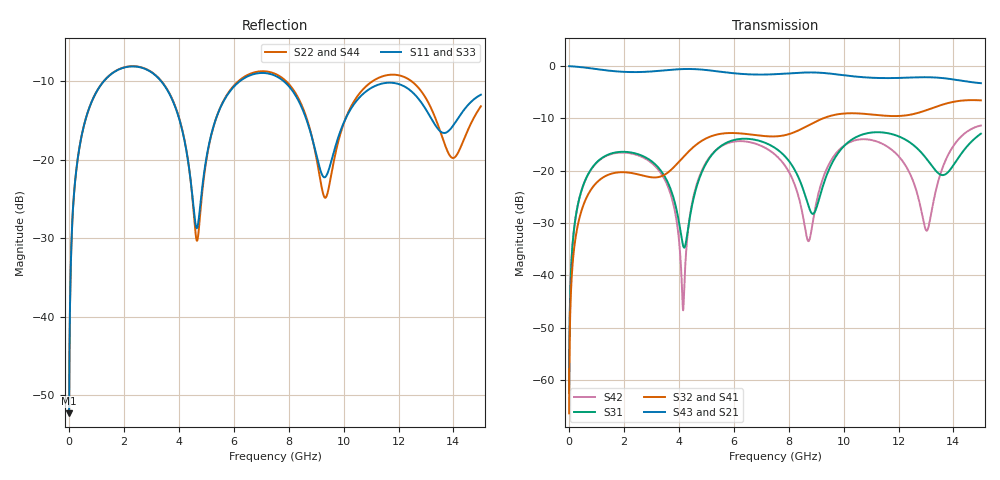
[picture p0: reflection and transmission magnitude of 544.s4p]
! Created with skrf 1.8.0 (http://scikit-rf.org).
# GHz S RI R 50.0
!freq ReS11 ImS11 ReS12 ImS12 ReS13 ImS13
! ReS14 ImS14
! ReS21 ImS21 ReS22 ImS22 ReS23 ImS23
! ReS24 ImS24
! ReS31 ImS31 ReS32 ImS32 ReS33 ImS33
! ReS34 ImS34
! ReS41 ImS41 ReS42 ImS42 ReS43 ImS43
! ReS44 ImS44
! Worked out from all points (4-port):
!   2499 points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, 5 MHz to 15 GHz, reference 50 ohm
!   strongest paths, dB at 5 MHz, 3.476 GHz, 7.19 GHz, 11.1 GHz, 15 GHz:
!     S43: 0.0, -0.8, -1.6, -2.2, -3.3
!     S21: 0.0, -0.8, -1.6, -2.2, -3.3
!     S32: -66.4, -20.8, -13.4, -9.3, -6.5
!     S41: -66.4, -20.8, -13.4, -9.3, -6.6
!     S31: -62.5, -21.0, -14.8, -12.7, -12.9
!     S42: -62.5, -21.6, -15.8, -14.2, -11.4
!   lowest |S11| = -52.3 dB at 5 MHz (marker M1), VSWR 1.00, Z = 50.2 + j0.147 ohm
!   |S11| at or under -10 dB: start of sweep to 1.261 GHz; 3.363 GHz to 6.211 GHz (2.848 GHz wide, 59.5 % of centre); 7.831 GHz to end of sweep
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0.005  0.00192 0.00146  0.998 -0.00374  9.71e-05 0.000747  -9.43e-05 -0.000472
       0.998 -0.00374  0.00192 0.00146  -9.43e-05 -0.000472  9.7e-05 0.000747
       9.71e-05 0.000747  -9.43e-05 -0.000472  0.00192 0.00146  0.998 -0.00374
       -9.43e-05 -0.000472  9.7e-05 0.000747  0.998 -0.00374  0.00192 0.00146
0.3126303  0.0315 0.0948  0.9568 -0.2313  0.0147 0.0434  -0.0121 -0.0268
           0.9568 -0.2313  0.0316 0.0948  -0.0121 -0.0268  0.0143 0.0435
           0.0147 0.0434  -0.0121 -0.0268  0.0315 0.0948  0.9568 -0.2313
           -0.0121 -0.0268  0.0143 0.0435  0.9568 -0.2313  0.0316 0.0948
1.3193  0.2706 0.1796  0.5492 -0.7292  0.1262 0.0566  -0.0884 -0.0065
        0.5492 -0.7292  0.2719 0.1787  -0.0885 -0.00648  0.1222 0.062
        0.1262 0.0566  -0.0885 -0.00648  0.2706 0.1796  0.5492 -0.7292
        -0.0884 -0.0065  0.1222 0.062  0.5492 -0.7292  0.272 0.1787
4.15173  0.0787 -0.1243  -0.8524 -0.3881  -0.0169 -0.00964  -0.0518 0.1239
         -0.8524 -0.3881  0.0734 -0.1291  -0.0514 0.124  -0.00426 -0.00194
         -0.0169 -0.00964  -0.0514 0.124  0.0791 -0.1254  -0.8522 -0.3882
         -0.0518 0.1239  -0.00426 -0.00194  -0.8522 -0.3882  0.0741 -0.1301
5.370988  0.1272 0.1367  -0.81 0.3751  0.1121 0.1123  0.1232 0.1836
          -0.81 0.3751  0.1242 0.1395  0.1238 0.1834  0.1068 0.1176
          0.1121 0.1123  0.1238 0.1834  0.1264 0.1355  -0.8102 0.3752
          0.1232 0.1836  0.1068 0.1176  -0.8102 0.3752  0.124 0.1382
9.38516  0.0792 0.0111  0.8486 0.0985  0.00617 0.0906  0.0273 -0.3246
         0.8486 0.0985  0.0585 0.00742  0.0257 -0.3248  0.00709 0.1039
         0.00617 0.0906  0.0257 -0.3248  0.0785 0.0111  0.8488 0.096
         0.0273 -0.3246  0.00709 0.1039  0.8488 0.096  0.0592 0.00801
15  0.2572 0.0395  -0.6384 0.2524  0.1945 0.115  0.2435 0.4001
    -0.6384 0.2524  0.2029 0.0839  0.2476 0.4002  0.1947 0.188
    0.1945 0.115  0.2476 0.4002  0.2512 0.0381  -0.6356 0.2594
    0.2435 0.4001  0.1947 0.188  -0.6356 0.2594  0.21 0.0796
